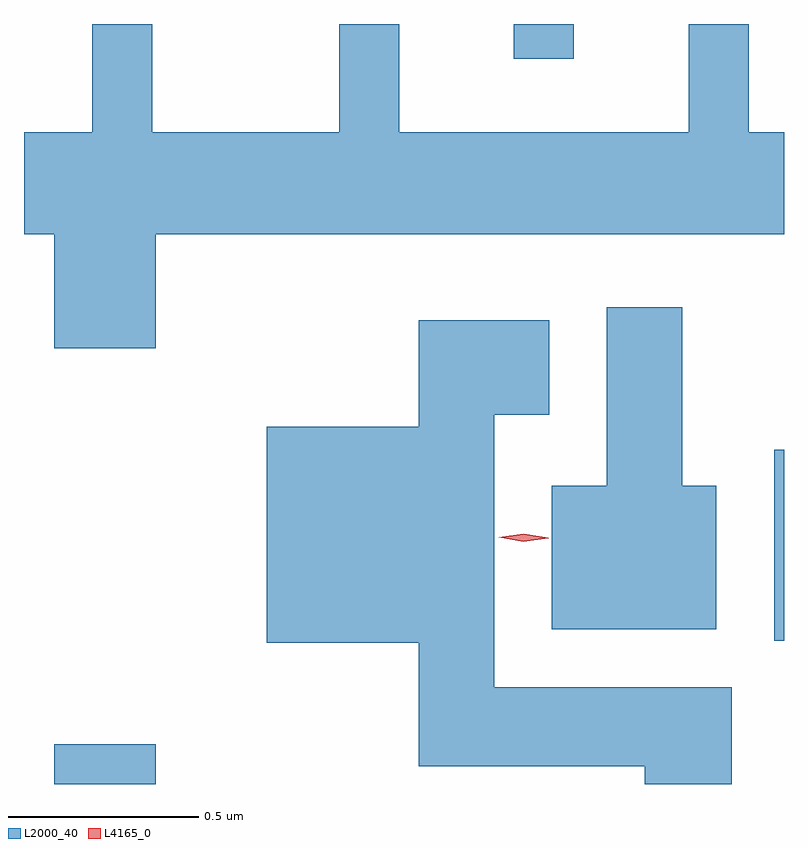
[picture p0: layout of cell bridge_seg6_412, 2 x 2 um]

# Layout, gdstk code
import gdstk
lib = gdstk.Library(unit=1e-6, precision=1e-09)
def R(c, l, rs):  # rectangles x0, y0, x1, y1
    for r in rs: c.add(gdstk.rectangle(r[:2], r[2:], *l))
def P(c, l, *ps):  # polygons
    for p in ps: c.add(gdstk.Polygon(p, *l))
L2000_40 = (2000, 40)
L4165_0 = (4165, 0)

bridge_seg6_412 = lib.new_cell('bridge_seg6_412')
R(bridge_seg6_412, L2000_40, [(954.336,1639.609,954.604,1639.714), (956.231,1639.986,956.257,1640.489), (955.546,1641.518,955.704,1641.609)])
P(bridge_seg6_412, L2000_40, [(954.604,1641.056),(956.257,1641.056),(956.257,1641.324),(956.164,1641.324),(956.164,1641.609),(956.006,1641.609),(956.006,1641.324),(955.244,1641.324),(955.244,1641.609),(955.086,1641.609),(955.086,1641.324),(954.594,1641.324),(954.594,1641.609),(954.436,1641.609),(954.436,1641.324),(954.257,1641.324),(954.257,1641.056),(954.336,1641.056),(954.336,1640.756),(954.604,1640.756)],
  [(956.079,1640.394),(955.989,1640.394),(955.989,1640.864),(955.791,1640.864),(955.791,1640.394),(955.646,1640.394),(955.646,1640.016),(956.079,1640.016)],
  [(956.119,1639.864),(955.494,1639.864),(955.494,1640.581),(955.639,1640.581),(955.639,1640.829),(955.296,1640.829),(955.296,1640.549),(954.896,1640.549),(954.896,1639.981),(955.296,1639.981),(955.296,1639.656),(955.891,1639.656),(955.891,1639.609),(956.119,1639.609)])
P(bridge_seg6_412, L4165_0, [(955.571,1640.247),(955.506,1640.258),(955.505,1640.258),(955.506,1640.259),(955.572,1640.267),(955.637,1640.257),(955.638,1640.256),(955.637,1640.256)])

lib.write_gds('bridge_seg6_412.gds')
